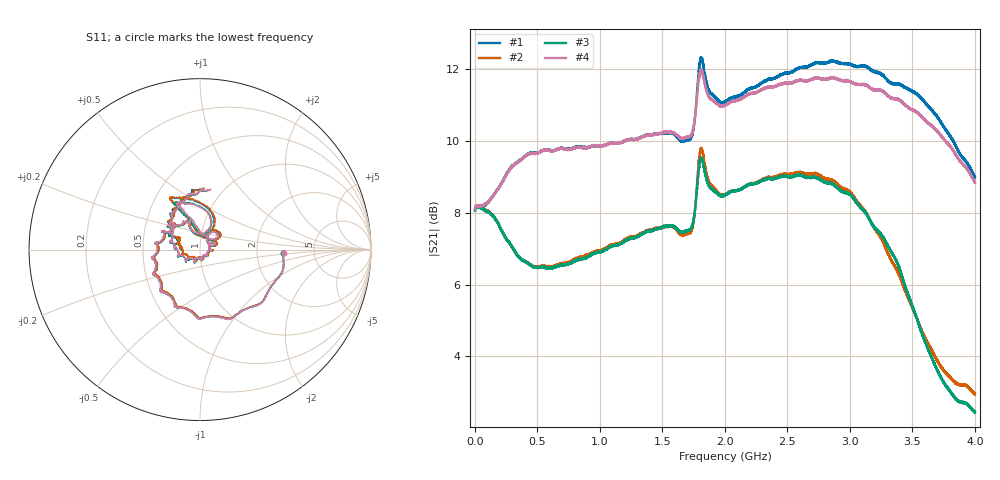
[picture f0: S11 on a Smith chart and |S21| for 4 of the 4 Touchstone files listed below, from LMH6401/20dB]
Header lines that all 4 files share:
!Keysight Technologies N9917A: A.08.18
!Timezone: (GMT-07:00) Mountain Time (US & Canada)
!Model: N9917A
!Serial: MY52401314
!GPS Latitude:
!GPS Longitude:
!GPS TimeStamp: 0001-01-01 00:00:00Z
!GPS Seconds Since Last Read: 0
!Correction: S11(ON U)S21(ON U)S12(ON U)S22(ON U)
!S2P File: Measurements:S11,S21,S12,S22:
# Hz S DB R 50
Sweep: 430 kHz to 4 GHz
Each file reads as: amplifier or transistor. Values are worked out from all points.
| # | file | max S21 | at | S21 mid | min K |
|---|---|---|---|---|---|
| 1 | LMH6401_P1_INN_P2_OUTB_20dB.s2p | 12.3 dB | 1.81 GHz | 11.1 dB at 2 GHz | 8.06 |
| 2 | LMH6401_P1_INN_P2_OUTP_20dB.s2p | 9.8 dB | 1.81 GHz | 8.5 dB at 2 GHz | 16.01 |
| 3 | LMH6401_P1_INP_P2_OUTB_20dB.s2p | 9.5 dB | 1.81 GHz | 8.5 dB at 2 GHz | 16.20 |
| 4 | LMH6401_P1_INP_P2_OUTP_20dB.s2p | 12.0 dB | 1.81 GHz | 11.0 dB at 2 GHz | 7.68 |
